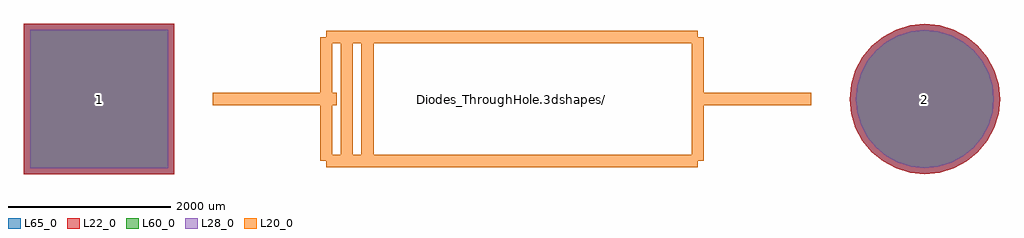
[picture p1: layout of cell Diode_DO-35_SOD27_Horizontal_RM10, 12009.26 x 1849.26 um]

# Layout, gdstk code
import gdstk
lib = gdstk.Library(unit=1e-6, precision=1e-09)
def R(c, l, rs):  # rectangles x0, y0, x1, y1
    for r in rs: c.add(gdstk.rectangle(r[:2], r[2:], *l))
def P(c, l, *ps):  # polygons
    for p in ps: c.add(gdstk.Polygon(p, *l))
L20_0 = (20, 0)
L22_0 = (22, 0)
L28_0 = (28, 0)
L60_0 = (60, 0)
L65_0 = (65, 0)

diode_do_35_sod27_horizo = lib.new_cell('Diode_DO-35_SOD27_Horizontal_RM10')
R(diode_do_35_sod27_horizo, L22_0, [(-924.11,-922.09,925.15,927.17)])
P(diode_do_35_sod27_horizo, L22_0, [(11085.15,2.54),(11067.383,182.926),(11014.767,356.381),(10929.322,516.237),(10814.332,656.352),(10674.217,771.342),(10514.361,856.787),(10340.906,909.403),(10160.52,927.17),(9980.134,909.403),(9806.679,856.787),(9646.823,771.342),(9506.708,656.352),(9391.718,516.237),(9306.273,356.381),(9253.657,182.926),(9235.89,2.54),(9253.657,-177.846),(9306.273,-351.301),(9391.718,-511.157),(9506.708,-651.272),(9646.823,-766.262),(9806.679,-851.707),(9980.134,-904.323),(10160.52,-922.09),(10340.906,-904.323),(10514.361,-851.707),(10674.217,-766.262),(10814.332,-651.272),(10929.322,-511.157),(11014.767,-351.301),(11067.383,-177.846)])
R(diode_do_35_sod27_horizo, L28_0, [(-849.11,-847.09,850.15,852.17)])
P(diode_do_35_sod27_horizo, L28_0, [(11010.15,2.54),(10993.825,168.295),(10945.476,327.679),(10866.962,474.569),(10761.299,603.319),(10632.549,708.982),(10485.659,787.496),(10326.275,835.845),(10160.52,852.17),(9994.765,835.845),(9835.381,787.496),(9688.491,708.982),(9559.741,603.319),(9454.078,474.569),(9375.564,327.679),(9327.215,168.295),(9310.89,2.54),(9327.215,-163.215),(9375.564,-322.599),(9454.078,-469.489),(9559.741,-598.239),(9688.491,-703.902),(9835.381,-782.416),(9994.765,-830.765),(10160.52,-847.09),(10326.275,-830.765),(10485.659,-782.416),(10632.549,-703.902),(10761.299,-598.239),(10866.962,-469.489),(10945.476,-322.599),(10993.825,-163.215)])
R(diode_do_35_sod27_horizo, L60_0, [(-849.11,-847.09,850.15,852.17)])
P(diode_do_35_sod27_horizo, L60_0, [(11010.15,2.54),(10993.825,168.295),(10945.476,327.679),(10866.962,474.569),(10761.299,603.319),(10632.549,708.982),(10485.659,787.496),(10326.275,835.845),(10160.52,852.17),(9994.765,835.845),(9835.381,787.496),(9688.491,708.982),(9559.741,603.319),(9454.078,474.569),(9375.564,327.679),(9327.215,168.295),(9310.89,2.54),(9327.215,-163.215),(9375.564,-322.599),(9454.078,-469.489),(9559.741,-598.239),(9688.491,-703.902),(9835.381,-782.416),(9994.765,-830.765),(10160.52,-847.09),(10326.275,-830.765),(10485.659,-782.416),(10632.549,-703.902),(10761.299,-598.239),(10866.962,-469.489),(10945.476,-322.599),(10993.825,-163.215)])
R(diode_do_35_sod27_horizo, L65_0, [(-924.11,-922.09,925.15,927.17)])
P(diode_do_35_sod27_horizo, L65_0, [(11085.15,2.54),(11067.383,182.926),(11014.767,356.381),(10929.322,516.237),(10814.332,656.352),(10674.217,771.342),(10514.361,856.787),(10340.906,909.403),(10160.52,927.17),(9980.134,909.403),(9806.679,856.787),(9646.823,771.342),(9506.708,656.352),(9391.718,516.237),(9306.273,356.381),(9253.657,182.926),(9235.89,2.54),(9253.657,-177.846),(9306.273,-351.301),(9391.718,-511.157),(9506.708,-651.272),(9646.823,-766.262),(9806.679,-851.707),(9980.134,-904.323),(10160.52,-922.09),(10340.906,-904.323),(10514.361,-851.707),(10674.217,-766.262),(10814.332,-651.272),(10929.322,-511.157),(11014.767,-351.301),(11067.383,-177.846)])
diode_do_35_sod27_horizo.add(gdstk.FlexPath([(2794.52,764.54),(2794.52,2.54)], 149.998, ends="flush", simple_path=True, layer=20, datatype=0))  # L20_0
diode_do_35_sod27_horizo.add(gdstk.FlexPath([(7366.52,764.54),(2794.52,764.54)], 149.998, ends="flush", simple_path=True, layer=20, datatype=0))  # L20_0
diode_do_35_sod27_horizo.add(gdstk.FlexPath([(7366.52,-759.46),(7366.52,764.54)], 149.998, ends="flush", simple_path=True, layer=20, datatype=0))  # L20_0
diode_do_35_sod27_horizo.add(gdstk.FlexPath([(2794.52,-759.46),(7366.52,-759.46)], 149.998, ends="flush", simple_path=True, layer=20, datatype=0))  # L20_0
diode_do_35_sod27_horizo.add(gdstk.FlexPath([(2794.52,2.54),(2794.52,-759.46)], 149.998, ends="flush", simple_path=True, layer=20, datatype=0))  # L20_0
diode_do_35_sod27_horizo.add(gdstk.FlexPath([(3048.52,764.54),(3048.52,-759.46)], 149.998, ends="flush", simple_path=True, layer=20, datatype=0))  # L20_0
diode_do_35_sod27_horizo.add(gdstk.FlexPath([(3302.52,764.54),(3302.52,-759.46)], 149.998, ends="flush", simple_path=True, layer=20, datatype=0))  # L20_0
diode_do_35_sod27_horizo.add(gdstk.FlexPath([(2921.52,2.54),(1397.52,2.54)], 149.998, ends="flush", simple_path=True, layer=20, datatype=0))  # L20_0
diode_do_35_sod27_horizo.add(gdstk.FlexPath([(7366.52,2.54),(8763.52,2.54)], 149.998, ends="flush", simple_path=True, layer=20, datatype=0))  # L20_0
diode_do_35_sod27_horizo.add(gdstk.Label('Diodes_ThroughHole.3dshapes/Diode_DO-35_SOD27_Horizontal_RM10.wrl', (5080,0), layer=12, texttype=0))
diode_do_35_sod27_horizo.add(gdstk.Label('1', (0.52,2.54), layer=28, texttype=0))
diode_do_35_sod27_horizo.add(gdstk.Label('2', (10160.52,2.54), layer=28, texttype=0))
diode_do_35_sod27_horizo.add(gdstk.Label('type', (4414.52,3558.54), layer=9, texttype=0))
diode_do_35_sod27_horizo.add(gdstk.Label('devicename', (5430.52,-2537.46), layer=9, texttype=0))

lib.write_gds('Diode_DO-35_SOD27_Horizontal_RM10.gds')
